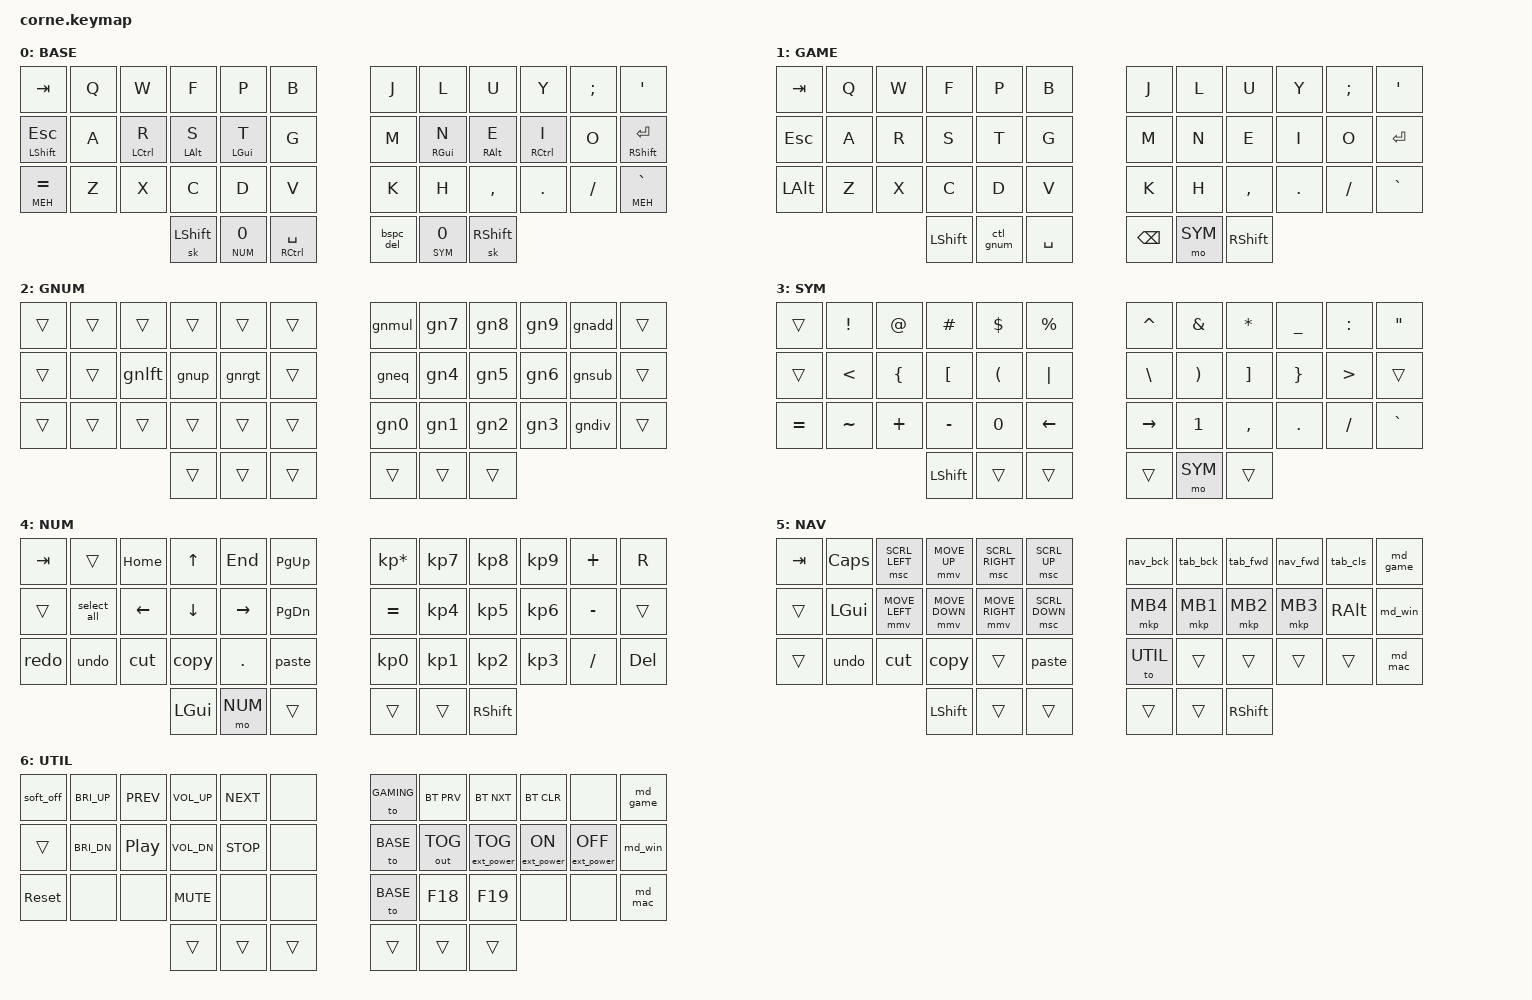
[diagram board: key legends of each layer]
/*
 * Copyright (c) 2020 The ZMK Contributors
 *
 * SPDX-License-Identifier: MIT
 */
#define ZMK_POINTING_DEFAULT_MOVE_VAL 1800  // default: 600
#define ZMK_POINTING_DEFAULT_SCRL_VAL 15    // default: 10

#include <behaviors.dtsi>
#include <dt-bindings/zmk/keys.h>
#include <dt-bindings/zmk/bt.h>
#include <dt-bindings/zmk/outputs.h>
#include <dt-bindings/zmk/mouse.h>
#include <dt-bindings/zmk/ext_power.h>
#include <dt-bindings/zmk/pointing.h>

// Layer aliases
#define BASE   0
#define GAMING 1  // gaming layers sit below SYM so &mo SYM works from them
#define GNUM   2
#define SYM    3
#define NUM    4
#define NAV    5
#define UTIL   6

// GNUM digit: the GNUM thumb holds Ctrl, so strip it to type a plain digit in chat
#define NO_CTL(name, key) \
        name: name { compatible = "zmk,behavior-mod-morph"; #binding-cells = <0>; \
                bindings = <&kp key>, <&kp key>; mods = <(MOD_LCTL)>; };

// Shorthand aliases for complex mod-tap combinations
#define MEH LC(LS(LALT))
#define MEH_EQ &mt_thumb MEH EQUAL
#define MEH_GR &mt_thumb MEH GRAVE
#define SH_ES &mt_thumb LSHFT ESC
#define SH_RE &mt_thumb RSHFT RET
#define CT_SP &mt_thumb RCTRL SPACE

// Advanced mouse emulation configuration
&mmv {
    time-to-max-speed-ms = <300>;
    acceleration-exponent = <1>;
};

&msc {
    time-to-max-speed-ms = <300>;
    acceleration-exponent = <1>;
};

&soft_off {
    hold-time-ms = <2500>; // Only turn off it the key is held for 5 seconds or longer.
};

/ {
        behaviors {
                // Home row mods with custom tapping term
                hml: homerow_mods_left {
                        compatible = "zmk,behavior-hold-tap";
                        #binding-cells = <2>;
                        flavor = "balanced";
                        tapping-term-ms = <280>;
                        quick-tap-ms = <175>;
                        require-prior-idle-ms = <200>;
                        bindings = <&kp>, <&kp>;
                        hold-trigger-key-positions = <0 1 2 6 7 8 9 10 11 12 13 14 15 18 19 20 21 22 23 30 31 32 33 34 35 36 37 38 39 40 41>;
                        hold-trigger-on-release;
                };

                hmr: homerow_mods_right {
                        compatible = "zmk,behavior-hold-tap";
                        #binding-cells = <2>;
                        flavor = "balanced";
                        tapping-term-ms = <280>;
                        quick-tap-ms = <175>;
                        require-prior-idle-ms = <200>;
                        bindings = <&kp>, <&kp>;
                        hold-trigger-key-positions = <0 1 2 3 4 5 12 13 14 15 16 17 24 25 26 27 28 29 36 37 38 39 40 41>;
                        hold-trigger-on-release;
                };

                // Layer-tap with balanced flavor
                lt_bal: layer_tap_balanced {
                        compatible = "zmk,behavior-hold-tap";
                        #binding-cells = <2>;
                        flavor = "balanced";
                        tapping-term-ms = <200>;
                        quick-tap-ms = <175>;
                        bindings = <&mo>, <&kp>;
                        hold-trigger-on-release;
                };

                // Mod-tap for thumb keys
                mt_thumb: mod_tap_thumb {
                        compatible = "zmk,behavior-hold-tap";
                        #binding-cells = <2>;
                        flavor = "balanced";
                        tapping-term-ms = <200>;
                        quick-tap-ms = <175>;
                        bindings = <&kp>, <&kp>;
                };

                // Mod-morph: Backspace becomes Delete when Ctrl is held
                bspc_del: backspace_delete {
                        compatible = "zmk,behavior-mod-morph";
                        #binding-cells = <0>;
                        bindings = <&kp BSPC>, <&kp DEL>;
                        mods = <(MOD_LCTL|MOD_RCTL)>;
                };

                NO_CTL(gn0, N0) NO_CTL(gn1, N1) NO_CTL(gn2, N2) NO_CTL(gn3, N3) NO_CTL(gn4, N4)
                NO_CTL(gn5, N5) NO_CTL(gn6, N6) NO_CTL(gn7, N7) NO_CTL(gn8, N8) NO_CTL(gn9, N9)
                NO_CTL(gnmul, ASTRK) NO_CTL(gnadd, PLUS) NO_CTL(gneq, EQUAL) NO_CTL(gnsub, MINUS) NO_CTL(gndiv, FSLH)
                NO_CTL(gnlft, LEFT) NO_CTL(gnup, UP) NO_CTL(gnrgt, RIGHT)
        };


        // Scroll Lock Signal: every Scroll Lock flip from the host taps this
        // binding while the layer is active (src/scroll_lock_keypress.c)
        scroll_lock_keypress {
                compatible = "zmk,scroll-lock-keypress";
                bindings = <&kp SPACE>;
                layer = <GAMING>;
        };

        conditional_layers {
                compatible = "zmk,conditional-layers";
                tri_layer {
                        if-layers = <SYM NUM>;
                        then-layer = <NAV>;
                };
        };

        combos {
                compatible = "zmk,combos";

                // Hardware soft off combo: Press top-left (left side) + top-right (right side)
                combo_soft_off {
                        timeout-ms = <100>;
                        key-positions = <0 11>;  // TAB (left) + ' (right)
                        layers = <BASE SYM NUM NAV UTIL>;  // not GAMING: a combo key waits up to timeout-ms, delaying Tab
                        bindings = <&soft_off>;
                        slow-release;
                };

                // Leave GAME: right middle + outer thumb (SYM + Shift)
                combo_game_exit {
                        timeout-ms = <50>;
                        key-positions = <40 41>;
                        layers = <GAMING>;
                        bindings = <&to BASE>;
                };
        };

        macros {
                // Tab navigation macros
                tab_fwd: tab_forward {
                        compatible = "zmk,behavior-macro";
                        #binding-cells = <0>;
                        bindings = <&kp LC(TAB)>;
                };
                tab_bck: tab_backward {
                        compatible = "zmk,behavior-macro";
                        #binding-cells = <0>;
                        bindings = <&kp LC(LS(TAB))>;
                };
                tab_cls: tab_close {
                        compatible = "zmk,behavior-macro";
                        #binding-cells = <0>;
                        bindings = <&kp LG(W)>;
                };
                nav_fwd: nav_forward {
                        compatible = "zmk,behavior-macro";
                        #binding-cells = <0>;
                        bindings = <&kp LG(RBKT)>;
                };
                nav_bck: nav_backward {
                        compatible = "zmk,behavior-macro";
                        #binding-cells = <0>;
                        bindings = <&kp LG(LBKT)>;
                };
                // Clipboard macros
                copy: copy_mac {
                        compatible = "zmk,behavior-macro";
                        #binding-cells = <0>;
                        bindings = <&kp LG(C)>;
                };
                cut: cut_mac {
                        compatible = "zmk,behavior-macro";
                        #binding-cells = <0>;
                        bindings = <&kp LG(X)>;
                };
                paste: paste_mac {
                        compatible = "zmk,behavior-macro";
                        #binding-cells = <0>;
                        bindings = <&kp LG(V)>;
                };
                undo: undo_mac {
                        compatible = "zmk,behavior-macro";
                        #binding-cells = <0>;
                        bindings = <&kp LG(Z)>;
                };
                redo: redo_mac {
                        compatible = "zmk,behavior-macro";
                        #binding-cells = <0>;
                        bindings = <&kp LG(LS(Z))>;
                };
                select_all: select_all_mac {
                        compatible = "zmk,behavior-macro";
                        #binding-cells = <0>;
                        bindings = <&kp LG(A)>;
                };
                // Gaming Ctrl thumb: real Ctrl for the left hand, GNUM digits on the right
                ctl_gnum: ctrl_gaming_num {
                        compatible = "zmk,behavior-macro";
                        #binding-cells = <0>;
                        wait-ms = <0>;
                        tap-ms = <0>;
                        bindings
                                = <&macro_press &mo GNUM &kp LCTRL>
                                , <&macro_pause_for_release>
                                , <&macro_release &mo GNUM &kp LCTRL>;
                };
                // Host modes: BT profile + matching layer (BT_SEL counts from 0 = 1st dot)
                md_mac: mode_mac {
                        compatible = "zmk,behavior-macro";
                        #binding-cells = <0>;
                        bindings = <&bt BT_SEL 0>, <&to BASE>;
                };
                md_win: mode_win {
                        compatible = "zmk,behavior-macro";
                        #binding-cells = <0>;
                        bindings = <&bt BT_SEL 1>, <&to BASE>;
                };
                md_game: mode_game {
                        compatible = "zmk,behavior-macro";
                        #binding-cells = <0>;
                        bindings = <&bt BT_SEL 2>, <&to GAMING>;
                };
        };
        
        keymap {
                compatible = "zmk,keymap";

                base_layer {
                        display-name = "BASE";
// -----------------------------------------------------------------------------------------
// | TAB  |  Q  |  W  |  F  |  P  |  B  |   |  J  |  L  |  U  |  Y  |  ;  |  '   |
// | ESC/S|  A  | R/C | S/A | T/G |  G  |   |  M  | N/G | E/A | I/C |  O  | ENT/S|
// | =/M  |  Z  |  X  |  C  |  D  |  V  |   |  K  |  H  |  ,  |  .  |  /  | `/M  |
//                    | OSM | NUM | SPC/C|  | BSPC| SYM | OSM |
                        bindings = <
   &kp TAB  &kp Q  &kp W         &kp F         &kp P         &kp B          &kp J      &kp L         &kp U        &kp Y         &kp SEMI   &kp SQT
   SH_ES    &kp A  &hml LCTRL R  &hml LALT S   &hml LGUI T   &kp G          &kp M      &hmr RGUI N   &hmr RALT E  &hmr RCTRL I  &kp O      SH_RE
   MEH_EQ   &kp Z  &kp X         &kp C         &kp D         &kp V          &kp K      &kp H         &kp COMMA    &kp DOT       &kp FSLH   MEH_GR
                                 &sk LSHFT     &lt_bal NUM 0 CT_SP          &bspc_del  &lt_bal SYM 0 &sk RSHFT
                        >;
                };

                gaming_layer {
                        display-name = "GAME";
// -----------------------------------------------------------------------------------------
// | TAB  |  Q  |  W  |  F  |  P  |  B  |   |  J  |  L  |  U  |  Y  |  ;  |  '   |
// | ESC  |  A  |  R  |  S  |  T  |  G  |   |  M  |  N  |  E  |  I  |  O  | ENT  |
// | ALT  |  Z  |  X  |  C  |  D  |  V  |   |  K  |  H  |  ,  |  .  |  /  |  `   |
//                    | SFT |CTL/N| SPC |   | BSPC| SYM | SFT |
                        bindings = <
   &kp TAB    &kp Q  &kp W  &kp F  &kp P  &kp B             &kp J      &kp L  &kp U      &kp Y    &kp SEMI   &kp SQT
   &kp ESC    &kp A  &kp R  &kp S  &kp T  &kp G             &kp M      &kp N  &kp E      &kp I    &kp O      &kp RET
   &kp LALT   &kp Z  &kp X  &kp C  &kp D  &kp V             &kp K      &kp H  &kp COMMA  &kp DOT  &kp FSLH   &kp GRAVE
                            &kp LSHFT &ctl_gnum &kp SPACE   &kp BSPC   &mo SYM   &kp RSHFT
                        >;
                };

                gaming_num_layer {
                        display-name = "GNUM";
// -----------------------------------------------------------------------------------------
// |      |     |     |     |     |     |   |  *  |  7  |  8  |  9  |  +  |      |
// |      |     | LFT | UP  | RGT |     |   |  =  |  4  |  5  |  6  |  -  |      |
// |      |     |     |     |     |     |   |  0  |  1  |  2  |  3  |  /  |      |
//                    |     |CTL/N|     |   |     |     |     |
                        bindings = <
   &trans  &trans  &trans  &trans  &trans  &trans      &gnmul  &gn7    &gn8    &gn9    &gnadd  &trans
   &trans  &trans  &gnlft  &gnup   &gnrgt  &trans      &gneq   &gn4    &gn5    &gn6    &gnsub  &trans
   &trans  &trans  &trans  &trans  &trans  &trans      &gn0    &gn1    &gn2    &gn3    &gndiv  &trans
                           &trans  &trans  &trans      &trans  &trans  &trans
                        >;
                };

                sym_layer {
                        display-name = "SYM";
// -----------------------------------------------------------------------------------------
// |      |  !  |  @  |  #  |  $  |  %  |   |  ^  |  &  |  *  |  _  |  :  |  "   |
// |      |  <  |  {  |  [  |  (  |  |  |   |  \  |  )  |  ]  |  }  |  >  |      |
// |  =   |  ~  |  +  |  -  |  0  | LFT |   | RGT |  1  |  ,  |  .  |  /  |  `   |
//                    | SFT |     |     |   |     | SYM | SFT |
                        bindings = <
   &trans     &kp EXCL   &kp AT     &kp HASH   &kp DLLR   &kp PRCNT          &kp CARET   &kp AMPS   &kp ASTRK   &kp UNDER   &kp COLON   &kp DQT
   &trans     &kp LT     &kp LBRC   &kp LBKT   &kp LPAR   &kp PIPE           &kp BSLH    &kp RPAR   &kp RBKT    &kp RBRC    &kp GT      &trans
   &kp EQUAL  &kp TILDE  &kp PLUS   &kp MINUS  &kp N0     &kp LEFT           &kp RIGHT   &kp N1     &kp COMMA   &kp DOT     &kp FSLH    &kp GRAVE
                                    &kp LSHFT  &trans     &trans             &trans      &mo SYM    &trans
                        >;
                };

                num_layer {
                        display-name = "NUM";
// -----------------------------------------------------------------------------------------
// | TAB  |     |HOME | UP  | END |PGUP |   |  *  |  7  |  8  |  9  |  +  |  R   |
// |      | SEL |LEFT |DOWN |RIGHT|PGDN |   |  =  |  4  |  5  |  6  |  -  |      |
// | REDO |UNDO | CUT |COPY |  .  |PASTE|   |  0  |  1  |  2  |  3  |  /  | DEL  |
//                    | GUI | NUM |     |   |     |     | SFT |
                        bindings = <
   &kp TAB    &trans       &kp HOME   &kp UP     &kp END     &kp PG_UP          &kp KP_MULTIPLY  &kp KP_N7   &kp KP_N8      &kp KP_N9   &kp PLUS    &kp R
   &trans     &select_all  &kp LEFT   &kp DOWN   &kp RIGHT   &kp PG_DN          &kp EQUAL        &kp KP_N4   &kp KP_N5      &kp KP_N6   &kp MINUS   &trans
   &redo      &undo        &cut       &copy      &kp DOT     &paste             &kp KP_N0        &kp KP_N1   &kp KP_N2      &kp KP_N3   &kp FSLH    &kp DEL
                                      &kp LGUI   &mo NUM     &trans             &trans           &trans      &kp RSHFT
                        >;
                };

                nav_layer {
                        display-name = "NAV";
// -----------------------------------------------------------------------------------------
// | TAB  |CAPS |WH_L |MS_U |WH_R |WH_U |   |NAV_B|TAB_B|TAB_F|NAV_F|TAB_C| GAME |
// |      | GUI |MS_L |MS_D |MS_R |WH_D |   | BTN4| BTN1| BTN2| BTN3| ALT | WIN  |
// |      |UNDO | CUT |COPY |     |PASTE|   | UTIL|     |     |     |     | MAC  |
//                    | SFT |     |     |   |     |     | SFT |
                        bindings = <
   &kp TAB  &kp CAPS  &msc SCRL_LEFT    &mmv MOVE_UP      &msc SCRL_RIGHT   &msc SCRL_UP        &nav_bck    &tab_bck  &tab_fwd   &nav_fwd  &tab_cls  &md_game
   &trans   &kp LGUI  &mmv MOVE_LEFT    &mmv MOVE_DOWN    &mmv MOVE_RIGHT   &msc SCRL_DOWN      &mkp MB4    &mkp MB1  &mkp MB2   &mkp MB3  &kp RALT  &md_win
   &trans   &undo     &cut              &copy             &trans            &paste              &to UTIL    &trans    &trans     &trans    &trans    &md_mac
                                        &kp LSHFT         &trans            &trans              &trans      &trans    &kp RSHFT
                        >;
                };

                util_layer {
                        display-name = "UTIL";
// -----------------------------------------------------------------------------------------
// |SOFOFF|BR_UP|PREV |VOL_U|NEXT |     |   |GAME |BT_PR|BT_NX|BT_CL|     | GAME |
// |      |BR_DN|PLAY |VOL_D|STOP |     |   |BASE |OUT_T|EP_TG|EP_ON|EP_OF| WIN  |
// |RESET |     |     |MUTE |     |     |   |BASE | DP1 | DP2 |     |     | MAC  |
//                    |     |     |     |   |     |     |     |
                        bindings = <
   &soft_off   &kp C_BRI_UP  &kp C_PREV  &kp C_VOL_UP  &kp C_NEXT  &none          &to GAMING &bt BT_PRV         &bt BT_NXT        &bt BT_CLR         &none        &md_game
   &trans      &kp C_BRI_DN  &kp C_PP    &kp C_VOL_DN  &kp C_STOP  &none          &to BASE  &out OUT_TOG       &ext_power EP_TOG  &ext_power EP_ON   &ext_power EP_OFF  &md_win
   &sys_reset  &none         &none       &kp C_MUTE    &none       &none          &to BASE  &kp F18            &kp F19           &none              &none        &md_mac
                                         &trans        &trans      &trans         &trans       &trans             &trans
                        >;
                };
        };
};

